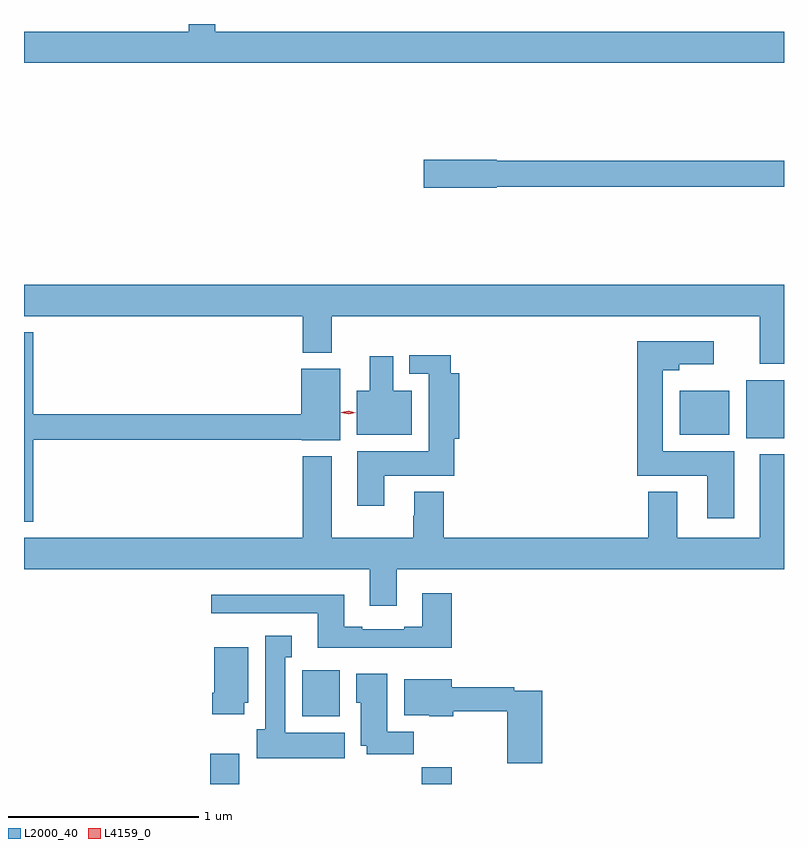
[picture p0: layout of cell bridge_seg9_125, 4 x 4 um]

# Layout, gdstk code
import gdstk
lib = gdstk.Library(unit=1e-6, precision=1e-09)
def R(c, l, rs):  # rectangles x0, y0, x1, y1
    for r in rs: c.add(gdstk.rectangle(r[:2], r[2:], *l))
def P(c, l, *ps):  # polygons
    for p in ps: c.add(gdstk.Polygon(p, *l))
L2000_40 = (2000, 40)
L4159_0 = (4159, 0)

bridge_seg9_125 = lib.new_cell('bridge_seg9_125')
R(bridge_seg9_125, L2000_40, [(483.227,1232.585,483.379,1232.743), (484.339,1232.585,484.496,1232.672), (483.71,1232.942,483.907,1233.184), (486.047,1234.406,486.246,1234.711), (485.696,1234.424,485.959,1234.654)])
P(bridge_seg9_125, L2000_40, [(486.246,1236.544),(483.253,1236.544),(483.253,1236.585),(483.113,1236.585),(483.113,1236.544),(482.246,1236.544),(482.246,1236.38),(486.246,1236.38)],
  [(484.734,1235.728),(486.246,1235.728),(486.246,1235.864),(484.734,1235.864),(484.734,1235.87),(484.35,1235.87),(484.35,1235.723),(484.734,1235.723)],
  [(486.246,1235.212),(482.246,1235.212),(482.246,1235.048),(483.713,1235.048),(483.713,1234.856),(483.865,1234.856),(483.865,1235.048),(486.119,1235.048),(486.119,1234.796),(486.246,1234.796)],
  [(482.294,1234.396),(483.708,1234.396),(483.708,1234.394),(483.91,1234.394),(483.91,1234.771),(483.704,1234.771),(483.704,1234.532),(482.294,1234.532),(482.294,1234.963),(482.246,1234.963),(482.246,1233.965),(482.294,1233.965)],
  [(485.983,1234.336),(485.608,1234.336),(485.608,1234.763),(485.695,1234.763),(485.695,1234.793),(485.875,1234.793),(485.875,1234.915),(485.474,1234.915),(485.474,1234.208),(485.843,1234.208),(485.843,1233.984),(485.983,1233.984)],
  [(484.141,1234.208),(484.511,1234.208),(484.511,1234.403),(484.537,1234.403),(484.537,1234.747),(484.493,1234.747),(484.493,1234.841),(484.274,1234.841),(484.274,1234.743),(484.376,1234.743),(484.376,1234.336),(484.001,1234.336),(484.001,1234.05),(484.141,1234.05)],
  [(484.288,1234.654),(484.189,1234.654),(484.189,1234.837),(484.067,1234.837),(484.067,1234.654),(483.998,1234.654),(483.998,1234.424),(484.288,1234.424)],
  [(484.207,1233.716),(486.246,1233.716),(486.246,1234.321),(486.119,1234.321),(486.119,1233.88),(485.683,1233.88),(485.683,1234.123),(485.531,1234.123),(485.531,1233.88),(484.454,1233.88),(484.454,1234.123),(484.301,1234.123),(484.301,1233.996),(484.294,1233.996),(484.294,1233.88),(483.865,1233.88),(483.865,1234.309),(483.713,1234.309),(483.713,1233.88),(482.246,1233.88),(482.246,1233.716),(484.067,1233.716),(484.067,1233.522),(484.207,1233.522)],
  [(484.496,1233.589),(484.343,1233.589),(484.343,1233.412),(484.247,1233.412),(484.247,1233.399),(484.027,1233.399),(484.027,1233.412),(483.931,1233.412),(483.931,1233.58),(483.231,1233.58),(483.231,1233.483),(483.791,1233.483),(483.791,1233.302),(484.496,1233.302)],
  [(483.934,1232.854),(483.622,1232.854),(483.622,1233.251),(483.655,1233.251),(483.655,1233.364),(483.515,1233.364),(483.515,1232.874),(483.47,1232.874),(483.47,1232.72),(483.934,1232.72)],
  [(483.406,1233.012),(483.427,1233.012),(483.427,1233.304),(483.248,1233.304),(483.248,1233.064),(483.236,1233.064),(483.236,1232.952),(483.406,1232.952)],
  [(484.298,1232.86),(484.159,1232.86),(484.159,1233.166),(483.995,1233.166),(483.995,1233.012),(484.019,1233.012),(484.019,1232.786),(484.049,1232.786),(484.049,1232.742),(484.298,1232.742)],
  [(484.973,1233.075),(484.826,1233.075),(484.826,1233.095),(484.498,1233.095),(484.498,1233.136),(484.247,1233.136),(484.247,1232.948),(484.38,1232.948),(484.38,1232.942),(484.506,1232.942),(484.506,1232.967),(484.79,1232.967),(484.79,1232.694),(484.973,1232.694)])
P(bridge_seg9_125, L4159_0, [(483.954,1234.53),(483.916,1234.54),(483.916,1234.54),(483.916,1234.541),(483.954,1234.55),(483.992,1234.539),(483.992,1234.539),(483.992,1234.539)])

lib.write_gds('bridge_seg9_125.gds')
